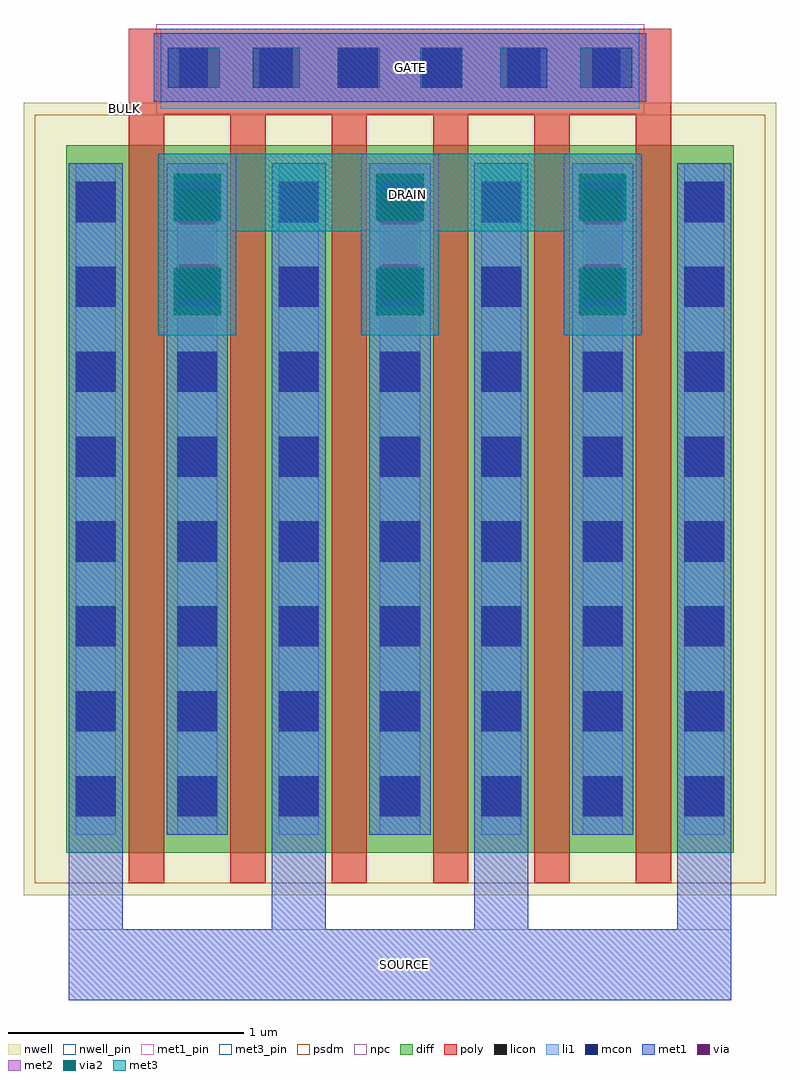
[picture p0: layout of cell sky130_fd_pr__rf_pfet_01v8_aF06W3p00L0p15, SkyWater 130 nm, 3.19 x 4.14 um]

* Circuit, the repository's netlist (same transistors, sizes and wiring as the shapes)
* Copyright 2020 The SkyWater PDK Authors
*
* Licensed under the Apache License, Version 2.0 (the "License");
* you may not use this file except in compliance with the License.
* You may obtain a copy of the License at
*
*     https://www.apache.org/licenses/LICENSE-2.0
*
* Unless required by applicable law or agreed to in writing, software
* distributed under the License is distributed on an "AS IS" BASIS,
* WITHOUT WARRANTIES OR CONDITIONS OF ANY KIND, either express or implied.
* See the License for the specific language governing permissions and
* limitations under the License.
*
* SPDX-License-Identifier: Apache-2.0


.subckt sky130_fd_pr__rf_pfet_01v8_aF06W3p00L0p15 BULK DRAIN GATE SOURCE
X0 SOURCE GATE DRAIN BULK sky130_fd_pr__pfet_01v8 w=3e+06u l=150000u
X1 DRAIN GATE SOURCE BULK sky130_fd_pr__pfet_01v8 w=3e+06u l=150000u
X2 SOURCE GATE DRAIN BULK sky130_fd_pr__pfet_01v8 w=3e+06u l=150000u
X3 DRAIN GATE SOURCE BULK sky130_fd_pr__pfet_01v8 w=3e+06u l=150000u
X4 DRAIN GATE SOURCE BULK sky130_fd_pr__pfet_01v8 w=3e+06u l=150000u
X5 SOURCE GATE DRAIN BULK sky130_fd_pr__pfet_01v8 w=3e+06u l=150000u
.ends

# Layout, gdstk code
import gdstk
lib = gdstk.Library(unit=1e-6, precision=1e-09)
def R(c, l, rs):  # rectangles x0, y0, x1, y1
    for r in rs: c.add(gdstk.rectangle(r[:2], r[2:], *l))
def A(c, l, x, y, w, h, nx, ny, dx, dy):  # array of equal rectangles
    R(c, l, [(x+i*dx, y+j*dy, x+i*dx+w, y+j*dy+h) for i in range(nx) for j in range(ny)])
nwell_pin = (64, 16)
nwell = (64, 20)
diff = (65, 20)
poly = (66, 20)
licon = (66, 44)
li1 = (67, 20)
mcon = (67, 44)
met1_pin = (68, 16)
met1 = (68, 20)
via = (68, 44)
met2 = (69, 20)
via2 = (69, 44)
met3_pin = (70, 16)
met3 = (70, 20)
psdm = (94, 20)
npc = (95, 20)

sky130_fd_pr__rf_pfet_01 = lib.new_cell('sky130_fd_pr__rf_pfet_01v8_aF06W3p00L0p15')
R(sky130_fd_pr__rf_pfet_01, nwell_pin, [(0.415,3.315,0.435,3.355)])
R(sky130_fd_pr__rf_pfet_01, nwell, [(0,0,3.19,3.36)])
A(sky130_fd_pr__rf_pfet_01, diff, 0.445, 0.18, 0.15, 3, 6, 1, 0.43, 0)
A(sky130_fd_pr__rf_pfet_01, diff, 1.025, 0.18, 0.28, 3, 3, 1, 0.43, 0)
R(sky130_fd_pr__rf_pfet_01, diff, [(0.18,0.18,0.445,3.18), (0.21,0.18,0.445,3.18), (0.595,0.18,0.875,3.18), (1.025,0.18,1.305,3.18), (1.055,0.18,1.305,3.18), (1.885,0.18,2.165,3.18), (1.915,0.18,2.165,3.18), (2.315,0.18,2.595,3.18), (2.745,0.18,3.01,3.18), (2.745,0.18,3.01,3.18), (2.775,0.18,3.01,3.18)])
A(sky130_fd_pr__rf_pfet_01, poly, 0.445, 0.05, 0.15, 0.13, 6, 2, 0.43, 3.13)
A(sky130_fd_pr__rf_pfet_01, poly, 0.445, 0.05, 0.15, 3.26, 6, 1, 0.43, 0)
R(sky130_fd_pr__rf_pfet_01, poly, [(0.445,3.31,2.745,3.675), (0.58,3.335,2.61,3.675)])
A(sky130_fd_pr__rf_pfet_01, licon, 0.22, 0.335, 0.17, 0.17, 7, 8, 0.43, 0.36)
A(sky130_fd_pr__rf_pfet_01, licon, 0.66, 3.425, 0.17, 0.17, 6, 1, 0.34, 0)
A(sky130_fd_pr__rf_pfet_01, li1, 0.22, 0.255, 0.17, 2.85, 7, 1, 0.43, 0)
R(sky130_fd_pr__rf_pfet_01, li1, [(0.58,3.335,2.61,3.675), (0.61,3.425,2.58,3.595)])
A(sky130_fd_pr__rf_pfet_01, mcon, 0.22, 0.335, 0.17, 0.17, 7, 8, 0.43, 0.36)
A(sky130_fd_pr__rf_pfet_01, mcon, 0.61, 3.425, 0.17, 0.17, 6, 1, 0.36, 0)
R(sky130_fd_pr__rf_pfet_01, met1_pin, [(0.19,-0.445,3,-0.145), (0.55,3.365,2.64,3.655)])
R(sky130_fd_pr__rf_pfet_01, met1, [(0.55,3.365,2.64,3.655)])
A(sky130_fd_pr__rf_pfet_01, via, 0.66, 2.525, 0.15, 0.15, 3, 2, 0.86, 0.32)
A(sky130_fd_pr__rf_pfet_01, met2, 0.57, 2.375, 0.33, 0.77, 3, 1, 0.86, 0)
A(sky130_fd_pr__rf_pfet_01, met2, 0.605, 2.44, 0.26, 0.64, 3, 1, 0.86, 0)
A(sky130_fd_pr__rf_pfet_01, via2, 0.635, 2.46, 0.2, 0.2, 3, 2, 0.86, 0.4)
R(sky130_fd_pr__rf_pfet_01, met3_pin, [(0.57,2.815,2.62,3.145)])
A(sky130_fd_pr__rf_pfet_01, met3, 0.57, 2.375, 0.33, 0.77, 3, 1, 0.86, 0)
A(sky130_fd_pr__rf_pfet_01, psdm, 0.465, 0.05, 0.54, 3.26, 5, 1, 0.43, 0)
A(sky130_fd_pr__rf_pfet_01, psdm, 0.625, 0.05, 0.4, 3.26, 5, 1, 0.43, 0)
R(sky130_fd_pr__rf_pfet_01, psdm, [(0.045,0.05,0.575,3.31), (0.21,0.05,0.595,3.31), (2.615,0.05,3.145,3.31)])
R(sky130_fd_pr__rf_pfet_01, npc, [(0.56,3.315,2.63,3.695)])
sky130_fd_pr__rf_pfet_01.add(gdstk.FlexPath([(0.57,2.98),(2.62,2.98)], 0.33, ends="flush", simple_path=True, layer=70, datatype=20))  # met3
sky130_fd_pr__rf_pfet_01.add(gdstk.FlexPath([(2.885,3.105),(2.885,-0.445)], 0.23, ends="flush", simple_path=True, layer=68, datatype=20))  # met1
sky130_fd_pr__rf_pfet_01.add(gdstk.FlexPath([(2.025,3.105),(2.025,-0.445)], 0.23, ends="flush", simple_path=True, layer=68, datatype=20))  # met1
sky130_fd_pr__rf_pfet_01.add(gdstk.FlexPath([(1.165,3.105),(1.165,-0.445)], 0.23, ends="flush", simple_path=True, layer=68, datatype=20))  # met1
sky130_fd_pr__rf_pfet_01.add(gdstk.FlexPath([(2.455,3.105),(2.455,0.255)], 0.26, ends="flush", simple_path=True, layer=68, datatype=20))  # met1
sky130_fd_pr__rf_pfet_01.add(gdstk.FlexPath([(1.595,3.105),(1.595,0.255)], 0.26, ends="flush", simple_path=True, layer=68, datatype=20))  # met1
sky130_fd_pr__rf_pfet_01.add(gdstk.FlexPath([(0.735,3.105),(0.735,0.255)], 0.26, ends="flush", simple_path=True, layer=68, datatype=20))  # met1
sky130_fd_pr__rf_pfet_01.add(gdstk.FlexPath([(0.305,3.105),(0.305,-0.445)], 0.23, ends="flush", simple_path=True, layer=68, datatype=20))  # met1
sky130_fd_pr__rf_pfet_01.add(gdstk.FlexPath([(0.19,-0.295),(3,-0.295)], 0.3, ends="flush", simple_path=True, layer=68, datatype=20))  # met1
sky130_fd_pr__rf_pfet_01.add(gdstk.Label('DRAIN', (1.625,2.97), layer=70, texttype=16))
sky130_fd_pr__rf_pfet_01.add(gdstk.Label('GATE', (1.64,3.51), layer=68, texttype=16))
sky130_fd_pr__rf_pfet_01.add(gdstk.Label('SOURCE', (1.615,-0.295), layer=68, texttype=16))
sky130_fd_pr__rf_pfet_01.add(gdstk.Label('BULK', (0.425,3.335), layer=64, texttype=5))

lib.write_gds('sky130_fd_pr__rf_pfet_01v8_aF06W3p00L0p15.gds')
